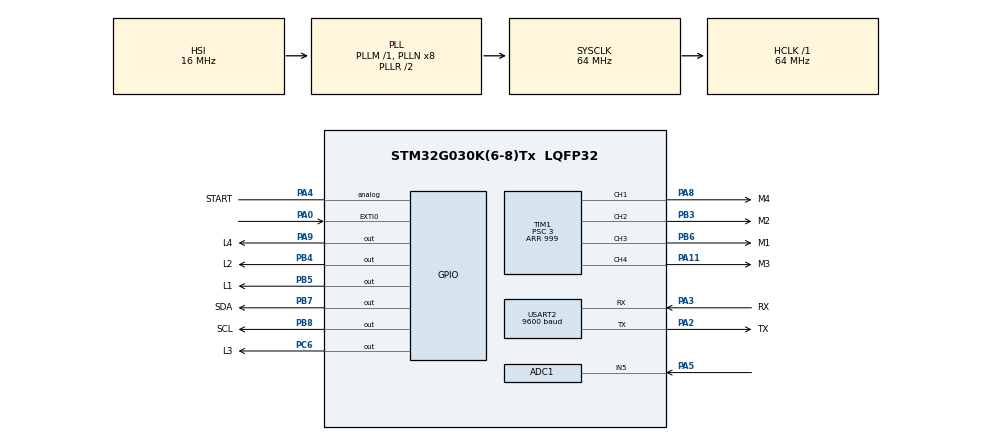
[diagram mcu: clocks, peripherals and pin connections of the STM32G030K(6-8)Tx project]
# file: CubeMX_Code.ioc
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Mcu.Family=STM32G0
SH.S_TIM1_CH4.0=TIM1_CH4,PWM Generation4 CH4
RCC.CortexFreq_Value=64000000
ADC1.ContinuousConvMode=ENABLE
Dma.ADC1.0.Polarity=HAL_DMAMUX_REQ_GEN_RISING
PA11\ [PA9].GPIO_Label=M3
PA14-BOOT0.Mode=Serial_Wire
PC6.GPIO_Label=L3
PB6.GPIO_Label=M1
PB3.GPIO_Speed=GPIO_SPEED_FREQ_LOW
RCC.SYSCLKSource=RCC_SYSCLKSOURCE_PLLCLK
ProjectManager.StackSize=0x400
TIM1.Prescaler=3
TIM1.Channel-PWM\ Generation4\ CH4=TIM_CHANNEL_4
RCC.HCLKFreq_Value=64000000
TIM3.Period=999
PB6.Signal=S_TIM1_CH3
Dma.ADC1.0.Direction=DMA_PERIPH_TO_MEMORY
Dma.ADC1.0.MemDataAlignment=DMA_MDATAALIGN_HALFWORD
RCC.AHBFreq_Value=64000000
PA14-BOOT0.Signal=SYS_SWCLK
ADC1.Channel-0\#ChannelRegularConversion=ADC_CHANNEL_5
RCC.HSE_VALUE=8000000
USART2.VirtualMode-Asynchronous=VM_ASYNC
PB3.GPIO_PuPd=GPIO_NOPULL
TIM1.Channel-PWM\ Generation1\ CH1=TIM_CHANNEL_1
TIM3.Prescaler=3
Dma.ADC1.0.PeriphInc=DMA_PINC_DISABLE
PB7.Signal=GPIO_Output
PA8.Signal=S_TIM1_CH1
VP_TIM1_VS_ClockSourceINT.Mode=Internal
ADC1.SamplingTime-0\#ChannelRegularConversion=ADC_SAMPLINGTIME_COMMON_1
PA0.Signal=GPXTI0
PB7.GPIO_Label=SDA
Mcu.Package=LQFP32
PA2.GPIO_Label=TX
USART2.WordLength=WORDLENGTH_8B
PB5.GPIO_Label=L1
TIM1.Period=999
Dma.Request0=ADC1
PA4.GPIO_Label=START
PA8.GPIO_Speed=GPIO_SPEED_FREQ_LOW
VP_TIM3_VS_ClockSourceINT.Mode=Internal
Dma.ADC1.0.EventEnable=DISABLE
PB4.Signal=GPIO_Output
PA3.Signal=USART2_RX
PA5.Mode=IN5
PB3.GPIO_Label=M2
TIM1.OCPolarity_1=TIM_OCPOLARITY_HIGH
Dma.ADC1.0.Instance=DMA1_Channel1
PA14-BOOT0.GPIO_Label=SWCLK
ADC1.Rank-0\#ChannelRegularConversion=1
PA11\ [PA9].GPIO_Speed=GPIO_SPEED_FREQ_LOW
Dma.ADC1.0.SyncRequestNumber=1
PA9.GPIO_Label=L4
PB6.GPIO_PuPd=GPIO_NOPULL
PC6.Signal=GPIO_Output
RCC.EXTERNAL_CLOCK_VALUE=12288000
NVIC.USART2_IRQn=true\:1\:0\:true\:false\:true\:true\:true
USART2.BaudRate=9600
PA13.Signal=SYS_SWDIO
PA3.Mode=Asynchronous
TIM1.AutoReloadPreload=TIM_AUTORELOAD_PRELOAD_ENABLE
PB8.GPIO_Label=SCL
Dma.ADC1.0.PeriphDataAlignment=DMA_PDATAALIGN_HALFWORD
PA8.GPIO_Label=M4
SH.S_TIM1_CH1.0=TIM1_CH1,PWM Generation1 CH1
ProjectManager.TargetToolchain=MDK-ARM V5
Dma.ADC1.0.Mode=DMA_CIRCULAR
Dma.ADC1.0.SignalID=NONE
Dma.ADC1.0.SyncSignalID=NONE
Dma.ADC1.0.Priority=DMA_PRIORITY_LOW
PA9.Signal=GPIO_Output
TIM1.Channel-PWM\ Generation2\ CH2=TIM_CHANNEL_2
PA11\ [PA9].GPIO_PuPd=GPIO_NOPULL
RCC.LSE_VALUE=32768
PA5.Signal=ADC1_IN5
board=custom
RCC.VCOOutputFreq_Value=128000000
NVIC.TIM3_IRQn=true\:0\:0\:false\:false\:true\:true\:true
Dma.ADC1.0.SyncPolarity=HAL_DMAMUX_SYNC_NO_EVENT
PB4.GPIO_Label=L2
SH.S_TIM1_CH2.0=TIM1_CH2,PWM Generation2 CH2
RCC.ADCFreq_Value=64000000
ADC1.DMAContinuousRequests=ENABLE
PA13.Mode=Serial_Wire
Mcu.Name=STM32G030K(6-8)Tx
PA11\ [PA9].Signal=S_TIM1_CH4
PA13.GPIO_Label=SWDIO
PA2.Signal=USART2_TX
PB3.Signal=S_TIM1_CH2
PA4.Signal=GPIO_Analog
RCC.SYSCLKFreq_VALUE=64000000
PB5.Signal=GPIO_Output
ADC1.master=1
Dma.ADC1.0.RequestNumber=1
Dma.ADC1.0.SyncEnable=DISABLE
Dma.ADC1.0.MemInc=DMA_MINC_ENABLE
ProjectManager.HeapSize=0x200
SH.S_TIM1_CH3.0=TIM1_CH3,PWM Generation3 CH3
RCC.HSI_VALUE=16000000
PA8.GPIO_PuPd=GPIO_NOPULL
ADC1.NbrOfConversionFlag=1
PA2.Mode=Asynchronous
PB8.Signal=GPIO_Output
NVIC.DMA1_Channel1_IRQn=true\:0\:0\:false\:false\:true\:false\:true
TIM1.Channel-PWM\ Generation3\ CH3=TIM_CHANNEL_3
PB6.GPIO_Speed=GPIO_SPEED_FREQ_LOW
PA3.GPIO_Label=RX

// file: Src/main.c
/* USER CODE BEGIN Header */
/**
  ******************************************************************************
  * @file           : main.c
  * @brief          : Main program body
  ******************************************************************************
  * @attention
  *
  * <h2><center>&copy; Copyright (c) 2020 STMicroelectronics.
  * All rights reserved.</center></h2>
  *
  * This software component is licensed by ST under BSD 3-Clause license,
  * the "License"; You may not use this file except in compliance with the
  * License. You may obtain a copy of the License at:
  *                        opensource.org/licenses/BSD-3-Clause
  *
  ******************************************************************************
  */
/* USER CODE END Header */

#include "main.h"
#include "adc.h"
#include "dma.h"
#include "tim.h"
#include "usart.h"
#include "gpio.h"

/* USER CODE BEGIN Includes */
#include "IMU.h"
#include "Tasks.h"
#include "Maths.h"
#include "Filter.h"
#include "Control.h"
#include "struct_all.h"

/* USER CODE END Includes */

void SystemClock_Config(void);

int main(void)
{

  /* MCU Configuration--------------------------------------------------------*/

  /* Reset of all peripherals, Initializes the Flash interface and the Systick. */
  HAL_Init();

  /* Configure the system clock */
  SystemClock_Config();

  /* Initialize all configured peripherals */
  MX_GPIO_Init();
  MX_DMA_Init();
  MX_TIM1_Init();
  MX_USART2_UART_Init();
  MX_ADC1_Init();
  MX_TIM3_Init();
  /* USER CODE BEGIN 2 */
	BSP_Int();	//硬件初始化

  /* USER CODE END 2 */

  /* Infinite loop */
  while (1)
  {

    /* USER CODE BEGIN 3 */
		if(Count_1ms>=1)
		{
			Count_1ms = 0;
			Task_1000HZ();
		}
		if(Count_2ms>=2)
		{
			Count_2ms = 0;
			Task_500HZ();
		}
		if(Count_4ms>=4)
		{
			Count_4ms = 0;
			Task_250HZ();
		}
		if(Count_100ms>=100)
		{
			Count_4ms = 0;
			Task_10HZ();
		}
  }
  /* USER CODE END 3 */
}

void SystemClock_Config(void)
{
  RCC_OscInitTypeDef RCC_OscInitStruct = {0};
  RCC_ClkInitTypeDef RCC_ClkInitStruct = {0};
  RCC_PeriphCLKInitTypeDef PeriphClkInit = {0};

  /** Configure the main internal regulator output voltage
  */
  HAL_PWREx_ControlVoltageScaling(PWR_REGULATOR_VOLTAGE_SCALE1);
  /** Initializes the CPU, AHB and APB busses clocks
  */
  RCC_OscInitStruct.OscillatorType = RCC_OSCILLATORTYPE_HSI;
  RCC_OscInitStruct.HSIState = RCC_HSI_ON;
  RCC_OscInitStruct.HSIDiv = RCC_HSI_DIV1;
  RCC_OscInitStruct.HSICalibrationValue = RCC_HSICALIBRATION_DEFAULT;
  RCC_OscInitStruct.PLL.PLLState = RCC_PLL_ON;
  RCC_OscInitStruct.PLL.PLLSource = RCC_PLLSOURCE_HSI;
  RCC_OscInitStruct.PLL.PLLM = RCC_PLLM_DIV1;
  RCC_OscInitStruct.PLL.PLLN = 8;
  RCC_OscInitStruct.PLL.PLLP = RCC_PLLP_DIV2;
  RCC_OscInitStruct.PLL.PLLR = RCC_PLLR_DIV2;
  if (HAL_RCC_OscConfig(&RCC_OscInitStruct) != HAL_OK)
  {
    Error_Handler();
  }
  /** Initializes the CPU, AHB and APB busses clocks
  */
  RCC_ClkInitStruct.ClockType = RCC_CLOCKTYPE_HCLK|RCC_CLOCKTYPE_SYSCLK
                              |RCC_CLOCKTYPE_PCLK1;
  RCC_ClkInitStruct.SYSCLKSource = RCC_SYSCLKSOURCE_PLLCLK;
  RCC_ClkInitStruct.AHBCLKDivider = RCC_SYSCLK_DIV1;
  RCC_ClkInitStruct.APB1CLKDivider = RCC_HCLK_DIV1;

  if (HAL_RCC_ClockConfig(&RCC_ClkInitStruct, FLASH_LATENCY_2) != HAL_OK)
  {
    Error_Handler();
  }
  /** Initializes the peripherals clocks
  */
  PeriphClkInit.PeriphClockSelection = RCC_PERIPHCLK_ADC;
  PeriphClkInit.AdcClockSelection = RCC_ADCCLKSOURCE_SYSCLK;
  if (HAL_RCCEx_PeriphCLKConfig(&PeriphClkInit) != HAL_OK)
  {
    Error_Handler();
  }
}

void Error_Handler(void)
{
}

/************************ (C) COPYRIGHT STMicroelectronics *****END OF FILE****/
